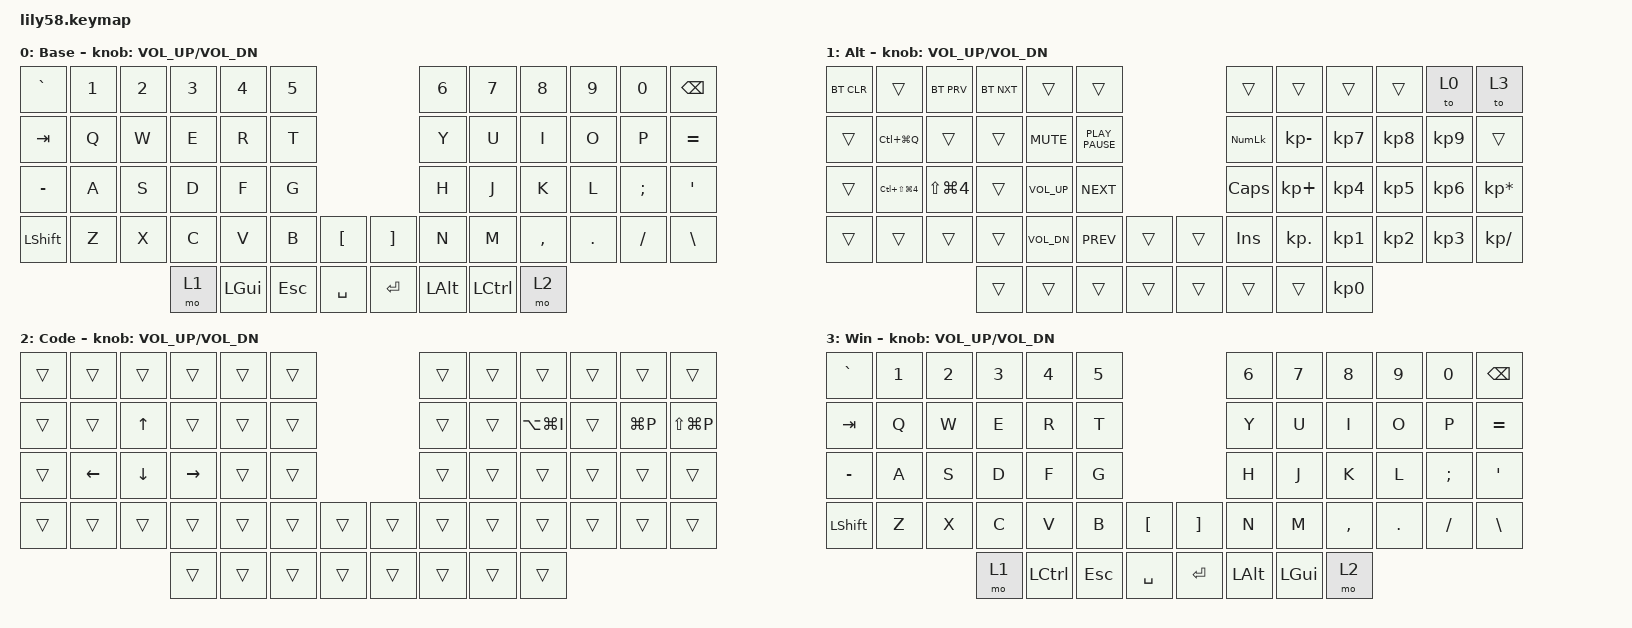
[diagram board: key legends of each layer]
/*
 * Copyright (c) 2020 The ZMK Contributors
 *
 * SPDX-License-Identifier: MIT
 */

#include <behaviors.dtsi>
#include <dt-bindings/zmk/keys.h>
#include <dt-bindings/zmk/bt.h>
#include <dt-bindings/zmk/ext_power.h>

/ {
    keymap {
        compatible = "zmk,keymap";

        base {
            display-name = "Base";
            bindings = <
&kp GRAVE  &kp N1  &kp N2  &kp N3  &kp N4    &kp N5                           &kp N6    &kp N7     &kp N8     &kp N9   &kp N0     &kp BSPC
&kp TAB    &kp Q   &kp W   &kp E   &kp R     &kp T                            &kp Y     &kp U      &kp I      &kp O    &kp P      &kp EQUAL
&kp MINUS  &kp A   &kp S   &kp D   &kp F     &kp G                            &kp H     &kp J      &kp K      &kp L    &kp SEMI   &kp SINGLE_QUOTE
&kp LSHFT  &kp Z   &kp X   &kp C   &kp V     &kp B    &kp LBKT     &kp RBKT   &kp N     &kp M      &kp COMMA  &kp DOT  &kp SLASH  &kp BACKSLASH
                           &mo 1   &kp LGUI  &kp ESC  &kp SPACE    &kp ENTER  &kp LALT  &kp LCTRL  &mo 2
            >;

            sensor-bindings = <&inc_dec_kp C_VOL_UP C_VOL_DN>;
        };

        alt {
            display-name = "Alt";
            bindings = <
&bt BT_CLR  &trans              &bt BT_PRV      &bt BT_NXT  &trans           &trans                              &trans      &trans           &trans           &trans     &to 0            &to 3
&trans      &kp LC(LG(Q))       &trans          &trans      &kp C_MUTE       &kp K_PLAY_PAUSE                    &kp KP_NUM  &kp KP_SUBTRACT  &kp KP_NUMBER_7  &kp KP_N8  &kp KP_N9        &trans
&trans      &kp LC(LS(LG(N4)))  &kp LS(LG(N4))  &trans      &kp K_VOLUME_UP  &kp K_NEXT                          &kp CAPS    &kp KP_PLUS      &kp KP_N4        &kp KP_N5  &kp KP_NUMBER_6  &kp KP_MULTIPLY
&trans      &trans              &trans          &trans      &kp K_VOL_DN     &kp K_PREV        &trans    &trans  &kp INS     &kp KP_DOT       &kp KP_N1        &kp KP_N2  &kp KP_NUMBER_3  &kp KP_DIVIDE
                                                &trans      &trans           &trans            &trans    &trans  &trans      &trans           &kp KP_NUMBER_0
            >;

            sensor-bindings = <&inc_dec_kp C_VOL_UP C_VOL_DN>;
        };

        code {
            display-name = "Code";
            bindings = <
&trans  &trans          &trans          &trans           &trans  &trans                    &trans  &trans  &trans         &trans  &trans     &trans
&trans  &trans          &kp UP_ARROW    &trans           &trans  &trans                    &trans  &trans  &kp LA(LG(I))  &trans  &kp LG(P)  &kp LS(LG(P))
&trans  &kp LEFT_ARROW  &kp DOWN_ARROW  &kp RIGHT_ARROW  &trans  &trans                    &trans  &trans  &trans         &trans  &trans     &trans
&trans  &trans          &trans          &trans           &trans  &trans  &trans    &trans  &trans  &trans  &trans         &trans  &trans     &trans
                                        &trans           &trans  &trans  &trans    &trans  &trans  &trans  &trans
            >;

            sensor-bindings = <&inc_dec_kp C_VOL_UP C_VOL_DN>;
        };

        win {
            display-name = "Win";
            bindings = <
&kp GRAVE  &kp N1  &kp N2  &kp N3  &kp N4            &kp N5                           &kp N6    &kp N7    &kp N8     &kp N9   &kp N0     &kp BSPC
&kp TAB    &kp Q   &kp W   &kp E   &kp R             &kp T                            &kp Y     &kp U     &kp I      &kp O    &kp P      &kp EQUAL
&kp MINUS  &kp A   &kp S   &kp D   &kp F             &kp G                            &kp H     &kp J     &kp K      &kp L    &kp SEMI   &kp SINGLE_QUOTE
&kp LSHFT  &kp Z   &kp X   &kp C   &kp V             &kp B    &kp LBKT     &kp RBKT   &kp N     &kp M     &kp COMMA  &kp DOT  &kp SLASH  &kp BACKSLASH
                           &mo 1   &kp LEFT_CONTROL  &kp ESC  &kp SPACE    &kp ENTER  &kp LALT  &kp LGUI  &mo 2
            >;

            sensor-bindings = <&inc_dec_kp C_VOL_UP C_VOL_DN>;
        };

        extra_1 {
            status = "reserved";
        };

        extra_2 {
            status = "reserved";
        };

        extra_3 {
            status = "reserved";
        };
    };
};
